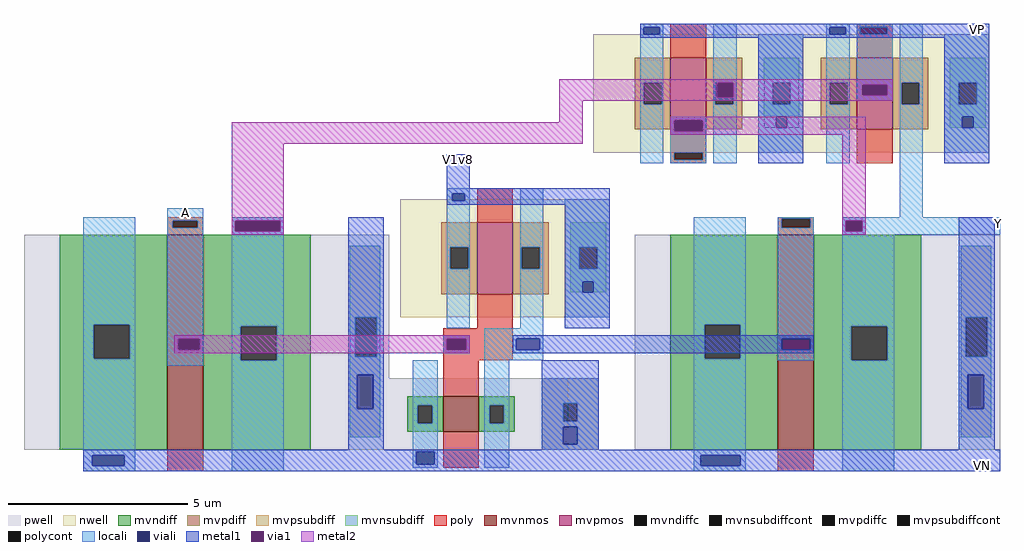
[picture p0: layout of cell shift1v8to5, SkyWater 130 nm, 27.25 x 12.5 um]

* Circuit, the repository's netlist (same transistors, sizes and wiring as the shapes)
* SPICE3 file created from shift1v8to5.ext - technology: sky130A

.subckt x5v_nfet_1_6 S G D B
X0 D G S B sky130_fd_pr__nfet_g5v0d10v5 ad=18 pd=18 as=18 ps=18 w=6 l=1
.ends

.subckt x5v_pfet_1_2 B D G S
X0 D G S B sky130_fd_pr__pfet_g5v0d10v5 ad=2 pd=6 as=2 ps=6 w=2 l=1
.ends

.subckt x5v_nfet_1_1 S B G D
X0 D G S B sky130_fd_pr__nfet_g5v0d10v5 ad=1 pd=4 as=1 ps=4 w=1 l=1
.ends

.subckt shift1v8to5 V1v8 VP VN Y X
X5v_nfet_1_6_0 VN X 5v_pfet_1_2_2/D VN x5v_nfet_1_6
X5v_nfet_1_6_1 VN 5v_pfet_1_2_0/D Y VN x5v_nfet_1_6
X5v_pfet_1_2_0 V1v8 5v_pfet_1_2_0/D X V1v8 x5v_pfet_1_2
X5v_pfet_1_2_1 VP Y 5v_pfet_1_2_2/D VP x5v_pfet_1_2
X5v_pfet_1_2_2 VP 5v_pfet_1_2_2/D Y VP x5v_pfet_1_2
X5v_nfet_1_1_0 VN VN X 5v_pfet_1_2_0/D x5v_nfet_1_1
.ends

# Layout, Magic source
magic
tech sky130A
<< poly >>
rect 1170 370 1365 400
rect 1170 340 1180 370
rect 1235 340 1365 370
rect 1170 310 1365 340
<< polycont >>
rect 2335 1220 2410 1240
rect 1815 870 1895 890
rect 415 680 485 700
rect 2115 680 2195 705
rect 1180 340 1235 370
<< locali >>
rect 2325 1240 2425 1250
rect 2325 1220 2335 1240
rect 2410 1220 2425 1240
rect 2325 1080 2425 1220
rect 2325 1050 2340 1080
rect 2410 1050 2425 1080
rect 2325 1035 2425 1050
rect 1805 980 1905 990
rect 1805 950 1815 980
rect 1895 950 1905 980
rect 1805 890 1905 950
rect 1805 870 1815 890
rect 1895 870 1905 890
rect 1805 860 1905 870
rect 400 700 500 735
rect 2445 710 2510 870
rect 2105 705 2205 710
rect 400 680 415 700
rect 485 680 500 700
rect 400 370 500 680
rect 2105 680 2115 705
rect 2195 680 2205 705
rect 400 340 430 370
rect 490 340 500 370
rect 400 295 500 340
rect 1170 370 1245 380
rect 1170 340 1180 370
rect 1235 340 1245 370
rect 1170 330 1245 340
rect 1285 370 1450 400
rect 1285 340 1375 370
rect 1440 340 1450 370
rect 1285 310 1450 340
rect 2105 370 2205 680
rect 2370 680 2725 710
rect 2430 660 2725 680
rect 2105 340 2115 370
rect 2195 340 2205 370
rect 2105 310 2205 340
<< viali >>
rect 1730 1220 1775 1240
rect 2250 1220 2295 1240
rect 1935 1045 1980 1085
rect 2340 1050 2410 1080
rect 1815 950 1895 980
rect 1195 755 1230 775
rect 590 670 715 700
rect 430 340 490 370
rect 1180 340 1235 370
rect 1375 340 1440 370
rect 2295 670 2340 700
rect 2115 340 2195 370
rect 190 15 280 45
rect 1095 20 1145 55
rect 1890 15 2000 45
<< metal1 >>
rect 1720 1240 2695 1250
rect 1720 1220 1730 1240
rect 1775 1220 2250 1240
rect 2295 1220 2695 1240
rect 1720 1210 2695 1220
rect 1925 1085 1990 1095
rect 1925 1045 1935 1085
rect 1980 1045 1990 1085
rect 1925 1035 1990 1045
rect 2325 1080 2425 1095
rect 2325 1050 2340 1080
rect 2410 1050 2425 1080
rect 2325 1035 2425 1050
rect 1805 980 1905 990
rect 1805 950 1815 980
rect 1895 950 1905 980
rect 1805 940 1905 950
rect 1180 790 1245 885
rect 1180 775 1530 790
rect 1180 755 1195 775
rect 1230 760 1530 775
rect 1230 755 1525 760
rect 1180 745 1525 755
rect 580 700 725 710
rect 580 670 590 700
rect 715 670 725 700
rect 580 660 725 670
rect 2285 700 2350 710
rect 2285 670 2295 700
rect 2340 670 2350 700
rect 2285 660 2350 670
rect 420 370 500 380
rect 420 340 430 370
rect 490 340 500 370
rect 420 330 500 340
rect 1170 370 1245 380
rect 1170 340 1180 370
rect 1235 340 1245 370
rect 1170 330 1245 340
rect 1365 370 2205 380
rect 1365 340 1375 370
rect 1440 340 2115 370
rect 2195 340 2205 370
rect 1365 330 2205 340
rect 165 55 2725 60
rect 165 45 1095 55
rect 165 15 190 45
rect 280 20 1095 45
rect 1145 45 2725 55
rect 1145 20 1890 45
rect 280 15 1890 20
rect 2000 15 2725 45
rect 165 0 2725 15
<< via1 >>
rect 1935 1045 1980 1085
rect 2340 1050 2410 1080
rect 1815 950 1895 980
rect 590 670 715 700
rect 2295 670 2340 700
rect 430 340 490 370
rect 1180 340 1235 370
<< metal2 >>
rect 1495 1085 2425 1095
rect 1495 1045 1935 1085
rect 1980 1080 2425 1085
rect 1980 1050 2340 1080
rect 2410 1050 2425 1080
rect 1980 1045 2425 1050
rect 1495 1035 2425 1045
rect 1495 975 1560 1035
rect 580 915 1560 975
rect 1805 980 2350 990
rect 1805 950 1815 980
rect 1895 950 2350 980
rect 1805 940 2350 950
rect 580 700 725 915
rect 580 670 590 700
rect 715 670 725 700
rect 580 660 725 670
rect 2285 700 2350 940
rect 2285 670 2295 700
rect 2340 670 2350 700
rect 2285 660 2350 670
rect 420 370 1245 380
rect 420 340 430 370
rect 490 340 1180 370
rect 1235 340 1245 370
rect 420 330 1245 340
use 5v_nfet_1_1  5v_nfet_1_1_0
transform 1 0 1170 0 1 110
box -150 -100 435 200
use 5v_nfet_1_6  5v_nfet_1_6_0
transform 1 0 400 0 1 60
box -400 -60 620 650
use 5v_nfet_1_6  5v_nfet_1_6_1
transform 1 0 2105 0 1 60
box -400 -60 620 650
use 5v_pfet_1_2  5v_pfet_1_2_0
transform 1 0 1265 0 1 495
box -215 -95 400 295
use 5v_pfet_1_2  5v_pfet_1_2_1
transform 1 0 2325 0 1 955
box -215 -95 400 295
use 5v_pfet_1_2  5v_pfet_1_2_2
transform 1 0 1805 0 1 955
box -215 -95 400 295
<< labels >>
rlabel metal1 1180 855 1245 885 1 V1v8
port 1 n
rlabel metal1 2645 0 2710 30 5 VN
port 3 s
rlabel locali 2715 675 2725 710 3 Y
port 4 e
rlabel locali 400 710 500 735 7 A
port 5 w
rlabel metal1 2630 1220 2695 1250 1 VP
port 2 n
<< end >>

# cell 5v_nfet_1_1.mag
magic
tech sky130A
<< pwell >>
rect -150 -50 350 150
<< mvnmos >>
rect 0 0 100 100
<< mvndiff >>
rect -100 75 0 100
rect -100 25 -70 75
rect -30 25 0 75
rect -100 0 0 25
rect 100 75 200 100
rect 100 25 130 75
rect 170 25 200 75
rect 100 0 200 25
<< mvndiffc >>
rect -70 25 -30 75
rect 130 25 170 75
<< mvpsubdiff >>
rect 275 80 435 150
rect 275 30 335 80
rect 375 30 435 80
rect 275 -50 435 30
<< mvpsubdiffcont >>
rect 335 30 375 80
<< poly >>
rect 0 100 100 200
rect 0 -100 100 0
<< locali >>
rect -85 75 -15 200
rect -85 25 -70 75
rect -30 25 -15 75
rect -85 -100 -15 25
rect 115 75 185 200
rect 115 25 130 75
rect 170 25 185 75
rect 115 -100 185 25
rect 275 80 435 150
rect 275 30 335 80
rect 375 30 435 80
rect 275 15 435 30
rect 275 -35 335 15
rect 375 -35 435 15
rect 275 -50 435 -35
<< viali >>
rect 335 -35 375 15
<< metal1 >>
rect 275 15 435 200
rect 275 -35 335 15
rect 375 -35 435 15
rect 275 -100 435 -35
<< labels >>
rlabel locali -50 195 -50 195 5 S
port 1 s
rlabel poly 50 195 50 195 5 G
port 3 s
rlabel locali 150 195 150 195 5 D
port 4 s
rlabel metal1 360 195 360 195 5 B
port 2 s
<< end >>

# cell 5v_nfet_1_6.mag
magic
tech sky130A
<< pwell >>
rect -400 0 620 600
<< mvnmos >>
rect 0 0 100 600
<< mvndiff >>
rect -300 350 0 600
rect -300 255 -205 350
rect -105 255 0 350
rect -300 0 0 255
rect 100 345 400 600
rect 100 250 205 345
rect 305 250 400 345
rect 100 0 400 250
<< mvndiffc >>
rect -205 255 -105 350
rect 205 250 305 345
<< mvpsubdiff >>
rect 510 370 595 570
rect 510 260 525 370
rect 585 260 595 370
rect 510 35 595 260
<< mvpsubdiffcont >>
rect 525 260 585 370
<< poly >>
rect 0 600 100 650
rect 0 -60 100 0
<< locali >>
rect -235 350 -90 650
rect -235 255 -205 350
rect -105 255 -90 350
rect -235 -60 -90 255
rect 180 345 325 650
rect 180 250 205 345
rect 305 250 325 345
rect 180 -60 325 250
rect 510 370 595 570
rect 510 260 525 370
rect 585 260 595 370
rect 510 210 595 260
rect 510 115 530 210
rect 575 115 595 210
rect 510 35 595 115
<< viali >>
rect 530 115 575 210
<< metal1 >>
rect 505 210 605 650
rect 505 115 530 210
rect 575 115 605 210
rect 505 -60 605 115
<< labels >>
rlabel locali -180 635 -180 635 1 S
port 1 n
rlabel poly 45 645 45 645 1 G
port 2 n
rlabel locali 255 640 255 640 1 D
port 3 n
rlabel metal1 550 640 550 640 1 B
port 4 n
<< end >>

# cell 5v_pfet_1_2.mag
magic
tech sky130A
<< nwell >>
rect -215 -65 370 265
<< mvpmos >>
rect 0 0 100 200
<< mvpdiff >>
rect -100 130 0 200
rect -100 70 -75 130
rect -25 70 0 130
rect -100 0 0 70
rect 100 130 200 200
rect 100 70 125 130
rect 175 70 200 130
rect 100 0 200 70
<< mvpdiffc >>
rect -75 70 -25 130
rect 125 70 175 130
<< mvnsubdiff >>
rect 260 130 360 200
rect 260 70 285 130
rect 335 70 360 130
rect 260 5 360 70
<< mvnsubdiffcont >>
rect 285 70 335 130
<< poly >>
rect 0 200 100 295
rect 0 -95 100 0
<< locali >>
rect -85 130 -20 295
rect -85 70 -75 130
rect -25 70 -20 130
rect -85 -95 -20 70
rect 120 130 185 295
rect 120 70 125 130
rect 175 70 185 130
rect 120 -95 185 70
rect 245 130 370 265
rect 245 70 285 130
rect 335 70 370 130
rect 245 35 370 70
rect 245 5 295 35
rect 325 5 370 35
rect 245 -65 370 5
<< viali >>
rect 295 5 325 35
<< metal1 >>
rect 245 35 370 295
rect 245 5 295 35
rect 325 5 370 35
rect 245 -95 370 5
<< labels >>
rlabel locali -55 260 -55 260 5 S
port 4 s
rlabel poly 55 260 55 260 5 G
port 3 s
rlabel locali 155 260 155 260 5 D
port 2 s
rlabel metal1 320 260 320 260 5 B
port 1 s
<< end >>
